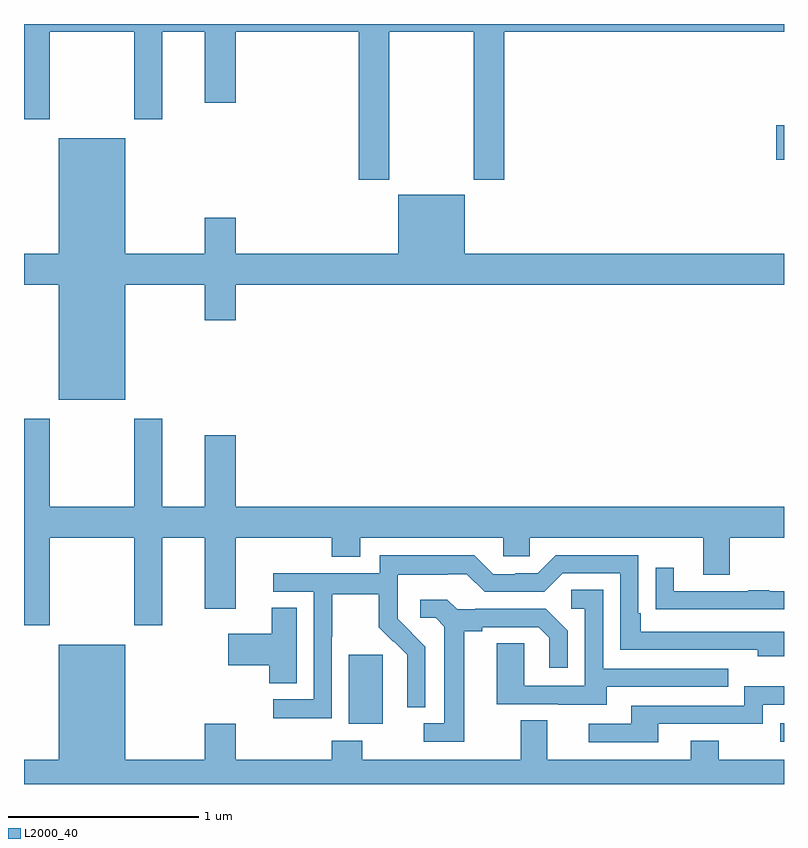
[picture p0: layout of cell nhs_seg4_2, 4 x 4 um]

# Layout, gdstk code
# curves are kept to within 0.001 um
import gdstk
lib = gdstk.Library(unit=1e-6, precision=1e-09)
def R(c, l, rs):  # rectangles x0, y0, x1, y1
    for r in rs: c.add(gdstk.rectangle(r[:2], r[2:], *l))
def P(c, l, *ps):  # polygons
    for p in ps: c.add(gdstk.Polygon(p, *l))
L2000_40 = (2000, 40)

nhs_seg4_2 = lib.new_cell('nhs_seg4_2')
R(nhs_seg4_2, L2000_40, [(114.981,753.123,115,753.219), (112.709,753.218,112.888,753.579), (114.96,756.185,115,756.368)])
P(nhs_seg4_2, L2000_40, [(112.923,756.86),(113.368,756.86),(113.368,756.081),(113.528,756.081),(113.528,756.86),(115,756.86),(115,756.9),(111,756.9),(111,756.399),(111.135,756.399),(111.135,756.86),(111.58,756.86),(111.58,756.399),(111.727,756.399),(111.727,756.86),(111.95,756.86),(111.95,756.486),(112.114,756.486),(112.114,756.86),(112.763,756.86),(112.763,756.081),(112.923,756.081)],
  [(111.532,755.528),(111.95,755.528),(111.95,755.34),(112.114,755.34),(112.114,755.528),(115,755.528),(115,755.692),(113.32,755.692),(113.32,756.001),(112.97,756.001),(112.97,755.692),(112.114,755.692),(112.114,755.881),(111.95,755.881),(111.95,755.692),(111.532,755.692),(111.532,756.298),(111.182,756.298),(111.182,755.692),(111,755.692),(111,755.528),(111.182,755.528),(111.182,754.922),(111.532,754.922)],
  [(111.135,754.196),(111.58,754.196),(111.58,753.735),(111.727,753.735),(111.727,754.196),(111.95,754.196),(111.95,753.822),(112.114,753.822),(112.114,754.196),(112.619,754.196),(112.619,754.097),(112.771,754.097),(112.771,754.196),(113.523,754.196),(113.523,754.098),(113.661,754.098),(113.661,754.196),(114.575,754.196),(114.575,754.002),(114.715,754.002),(114.715,754.196),(115,754.196),(115,754.36),(112.114,754.36),(112.114,754.735),(111.95,754.735),(111.95,754.36),(111.727,754.36),(111.727,754.822),(111.58,754.822),(111.58,754.36),(111.135,754.36),(111.135,754.822),(111,754.822),(111,753.735),(111.135,753.735)],
  [(112.62,753.676),(112.623,753.676),(112.623,753.9),(112.867,753.9),(112.867,753.725),(112.944,753.648),(112.947,753.651),(113.018,753.581),(113.018,753.458),(113.016,753.458),(113.016,753.304),(113.112,753.304),(113.112,753.622),(112.966,753.77),(112.966,753.867),(112.968,753.867),(112.968,754.001),(113.231,754.001),(113.231,754.005),(113.331,754.005),(113.424,753.912),(113.739,753.912),(113.835,754.008),(114.138,754.008),(114.138,753.606),(114.863,753.606),(114.863,753.572),(115,753.572),(115,753.702),(114.247,753.702),(114.247,753.799),(114.234,753.799),(114.234,754.104),(113.799,754.104),(113.703,754.008),(113.585,754.008),(113.585,754.005),(113.469,754.005),(113.369,754.105),(112.872,754.105),(112.872,754.008),(112.311,754.008),(112.311,753.912),(112.524,753.912),(112.524,753.345),(112.311,753.345),(112.311,753.247),(112.62,753.247)],
  [(115,753.915),(114.923,753.915),(114.923,753.92),(114.811,753.92),(114.811,753.915),(114.421,753.915),(114.421,754.039),(114.325,754.039),(114.325,753.82),(114.427,753.82),(114.427,753.819),(115,753.819)],
  [(114.067,753.411),(114.707,753.411),(114.707,753.507),(114.048,753.507),(114.048,753.923),(113.88,753.923),(113.88,753.822),(113.952,753.822),(113.952,753.417),(113.634,753.417),(113.634,753.641),(113.489,753.641),(113.489,753.321),(113.813,753.321),(113.813,753.317),(114.067,753.317)],
  [(113.317,753.704),(113.413,753.704),(113.413,753.726),(113.708,753.726),(113.765,753.669),(113.765,753.513),(113.862,753.513),(113.862,753.706),(113.746,753.822),(113.374,753.822),(113.374,753.819),(113.28,753.819),(113.228,753.871),(113.085,753.871),(113.085,753.774),(113.166,753.774),(113.213,753.727),(113.213,753.219),(113.103,753.219),(113.103,753.123),(113.317,753.123)],
  [(112.435,753.827),(112.304,753.827),(112.304,753.691),(112.074,753.691),(112.074,753.526),(112.292,753.526),(112.292,753.43),(112.435,753.43)],
  [(115,753.028),(114.657,753.028),(114.657,753.127),(114.509,753.127),(114.509,753.028),(113.755,753.028),(113.755,753.236),(113.615,753.236),(113.615,753.028),(112.779,753.028),(112.779,753.127),(112.619,753.127),(112.619,753.028),(112.114,753.028),(112.114,753.217),(111.95,753.217),(111.95,753.028),(111.532,753.028),(111.532,753.634),(111.182,753.634),(111.182,753.028),(111,753.028),(111,752.9),(115,752.9)],
  [(114.337,753.216),(114.888,753.216),(114.888,753.318),(115,753.318),(115,753.415),(114.792,753.415),(114.792,753.312),(114.197,753.312),(114.197,753.216),(113.973,753.216),(113.973,753.12),(114.337,753.12)])

lib.write_gds('nhs_seg4_2.gds')
